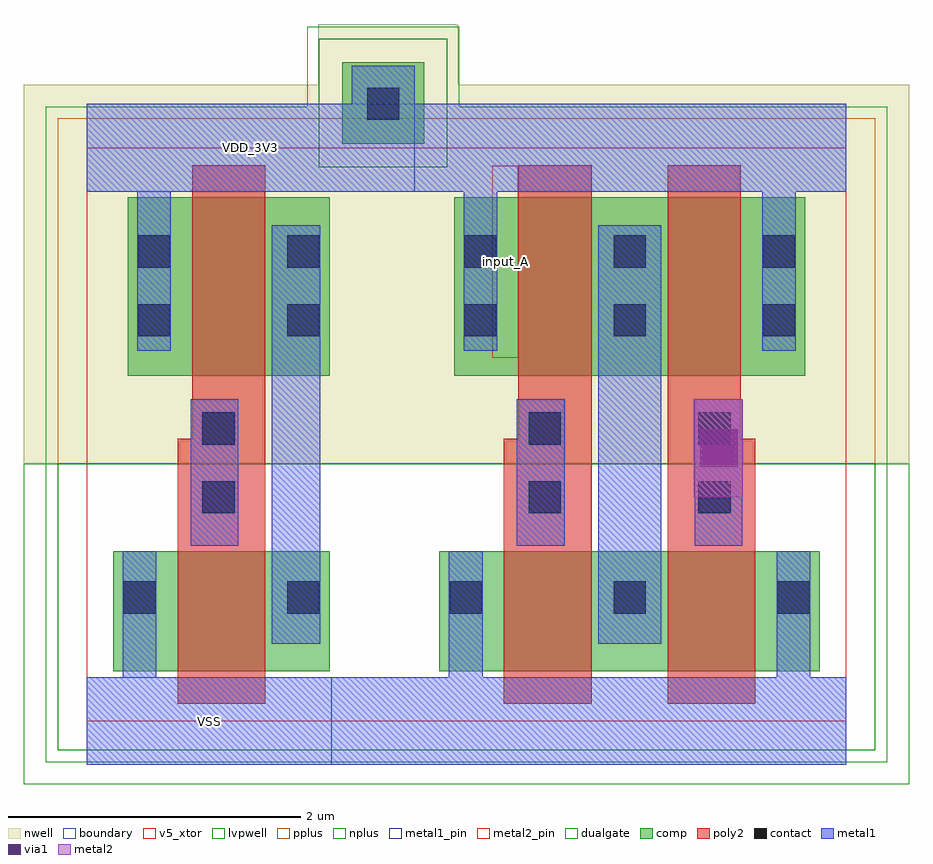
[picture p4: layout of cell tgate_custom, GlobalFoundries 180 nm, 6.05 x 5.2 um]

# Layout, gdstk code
from math import pi, radians
import gdstk
lib = gdstk.Library(unit=1e-6, precision=1e-09)
def R(c, l, rs):  # rectangles x0, y0, x1, y1
    for r in rs: c.add(gdstk.rectangle(r[:2], r[2:], *l))
def P(c, l, *ps):  # polygons
    for p in ps: c.add(gdstk.Polygon(p, *l))
boundary = (0, 0)
nwell = (21, 0)
comp = (22, 0)
poly2 = (30, 0)
pplus = (31, 0)
nplus = (32, 0)
contact = (33, 0)
metal1 = (34, 0)
metal1_pin = (34, 10)
via1 = (35, 0)
metal2 = (36, 0)
metal2_pin = (36, 10)
dualgate = (55, 0)
v5_xtor = (112, 1)
lvpwell = (204, 0)

not_internal_mod = lib.new_cell('not_internal_mod')
R(not_internal_mod, boundary, [(0,0,2.24,3.92)])
R(not_internal_mod, nwell, [(-0.43,1.76,2.67,4.35)])
R(not_internal_mod, comp, [(0.18,0.34,1.66,1.16), (0.28,2.36,1.66,3.58)])
P(not_internal_mod, poly2, [(0.62,0.12),(0.62,1.93),(0.72,1.93),(0.72,3.8),(1.22,3.8),(1.22,0.12)])
R(not_internal_mod, pplus, [(-0.2,1.76,2.44,4.12)])
R(not_internal_mod, nplus, [(-0.2,-0.2,2.44,1.76)])
R(not_internal_mod, contact, [(0.25,0.735,0.47,0.955), (1.37,0.735,1.59,0.955), (0.79,1.42,1.01,1.64), (0.79,1.89,1.01,2.11), (0.35,2.63,0.57,2.85), (1.37,2.63,1.59,2.85), (0.35,3.1,0.57,3.32), (1.37,3.1,1.59,3.32)])
R(not_internal_mod, metal1, [(1.265,0.53,1.595,3.39), (0.71,1.2,1.035,2.2)])
P(not_internal_mod, metal1, [(0,-0.3),(0,0.3),(0.245,0.3),(0.245,1.16),(0.475,1.16),(0.475,0.3),(2.24,0.3),(2.24,-0.3)],
  [(0.345,2.53),(0.345,3.62),(0,3.62),(0,4.22),(2.24,4.22),(2.24,3.62),(0.575,3.62),(0.575,2.53)])
R(not_internal_mod, dualgate, [(-0.28,-0.28,2.52,4.2)])
R(not_internal_mod, v5_xtor, [(0,0,2.24,3.92)])
R(not_internal_mod, lvpwell, [(-0.43,-0.43,2.67,1.76)])
not_internal_mod.add(gdstk.Label('VSS', (1.12,-0.08), layer=34, texttype=10))
not_internal_mod.add(gdstk.Label('ZN', (1.4,1.96), layer=34, texttype=10))
not_internal_mod.add(gdstk.Label('I', (0.84,1.96), layer=34, texttype=10))
not_internal_mod.add(gdstk.Label('VDD', (1.12,3.92), layer=34, texttype=10))
not_internal_mod.add(gdstk.Label('& Vendor GLOBALFOUNDRIES', (0,2), layer=63, texttype=63))
not_internal_mod.add(gdstk.Label('& Product GF018hv5v_mcu_sc7', (0,1.5), layer=63, texttype=63))
not_internal_mod.add(gdstk.Label('& Version 2015q2v1', (0,1), layer=63, texttype=63))
not_internal_mod.add(gdstk.Label('& Metric 1.00', (0,0.5), layer=63, texttype=63))
not_internal_mod.add(gdstk.Label('VNW', (0.345,3.92), layer=21, texttype=10))
not_internal_mod.add(gdstk.Label('VPW', (0.34,-0.085), layer=204, texttype=10))

half_gate_0 = lib.new_cell('half_gate_0')
R(half_gate_0, boundary, [(0,0,2.24,3.92)])
R(half_gate_0, nwell, [(-0.43,1.76,2.67,4.35)])
R(half_gate_0, comp, [(0.18,0.34,1.66,1.16), (0.28,2.36,1.66,3.58)])
P(half_gate_0, poly2, [(0.62,0.12),(0.62,1.93),(0.72,1.93),(0.72,3.8),(1.22,3.8),(1.22,0.12)])
R(half_gate_0, pplus, [(-0.2,1.76,2.44,4.12)])
R(half_gate_0, nplus, [(-0.2,-0.2,2.44,1.76)])
R(half_gate_0, contact, [(0.25,0.735,0.47,0.955), (1.37,0.735,1.59,0.955), (0.79,1.42,1.01,1.64), (0.79,1.89,1.01,2.11), (0.35,2.63,0.57,2.85), (1.37,2.63,1.59,2.85), (0.35,3.1,0.57,3.32), (1.37,3.1,1.59,3.32)])
R(half_gate_0, metal1, [(1.265,0.53,1.595,3.39), (0.71,1.2,1.035,2.2)])
P(half_gate_0, metal1, [(0,-0.3),(0,0.3),(0.245,0.3),(0.245,1.16),(0.475,1.16),(0.475,0.3),(2.24,0.3),(2.24,-0.3)],
  [(0.345,2.53),(0.345,3.62),(0,3.62),(0,4.22),(2.24,4.22),(2.24,3.62),(0.575,3.62),(0.575,2.53)])
R(half_gate_0, dualgate, [(-0.28,-0.28,2.52,4.2)])
R(half_gate_0, v5_xtor, [(0,0,2.24,3.92)])
R(half_gate_0, lvpwell, [(-0.43,-0.43,2.67,1.76)])
half_gate_0.add(gdstk.Label('VSS', (1.12,-0.08), layer=34, texttype=10))
half_gate_0.add(gdstk.Label('ZN', (1.4,1.96), layer=34, texttype=10))
half_gate_0.add(gdstk.Label('I', (0.84,1.96), layer=34, texttype=10))
half_gate_0.add(gdstk.Label('VDD', (1.12,3.92), layer=34, texttype=10))
half_gate_0.add(gdstk.Label('& Vendor GLOBALFOUNDRIES', (0,2), layer=63, texttype=63))
half_gate_0.add(gdstk.Label('& Product GF018hv5v_mcu_sc7', (0,1.5), layer=63, texttype=63))
half_gate_0.add(gdstk.Label('& Version 2015q2v1', (0,1), layer=63, texttype=63))
half_gate_0.add(gdstk.Label('& Metric 1.00', (0,0.5), layer=63, texttype=63))
half_gate_0.add(gdstk.Label('VNW', (0.345,3.92), layer=21, texttype=10))
half_gate_0.add(gdstk.Label('VPW', (0.34,-0.085), layer=204, texttype=10))

tgate_custom = lib.new_cell('tgate_custom')
R(tgate_custom, nwell, [(-0.775,3.385,-0.215,3.62), (-0.84,3.62,-0.13,3.665), (-0.92,3.665,0.02,3.67), (-0.94,3.67,0.02,4.2), (-0.94,4.2,0,4.205)])
R(tgate_custom, comp, [(-0.775,3.385,-0.215,3.945)])
R(tgate_custom, pplus, [(1.16,1.57,1.22,1.64), (1.16,3.18,1.22,3.25)])
R(tgate_custom, nplus, [(1.16,-0.45,1.22,-0.38), (1.16,0.76,1.22,0.83), (-0.935,3.225,-0.055,4.105)])
R(tgate_custom, contact, [(-0.605,3.55,-0.385,3.77)])
R(tgate_custom, metal1, [(-2.52,-0.86,-0.845,-0.26), (-1.245,0.835,-0.925,1.445), (0.42,1.035,0.455,1.445), (0.72,1.035,0.735,1.445), (0.975,1.035,1.4,2.83), (1.67,1.035,1.935,1.575), (-2.52,3.06,-0.28,3.66), (-0.71,3.66,-0.28,3.92)])
R(tgate_custom, metal1_pin, [(-2.52,-0.86,-0.845,-0.26), (-2.52,3.06,-0.28,3.66)])
R(tgate_custom, via1, [(1.67,1.175,1.93,1.435)])
R(tgate_custom, metal2, [(1.63,0.97,1.965,1.64)])
R(tgate_custom, metal2_pin, [(0.25,1.925,0.43,3.235)])
R(tgate_custom, dualgate, [(-0.62,-0.46,-0.35,0.84), (-0.62,1.56,-0.25,3.145), (-1.015,3.145,0.025,3.26), (-1.015,3.26,0.03,3.42), (-1.015,3.42,0.025,4.185)])
tgate_custom.add(gdstk.Reference(not_internal_mod, (-2.52,-0.56)))
tgate_custom.add(gdstk.Reference(half_gate_0, (2.67,-0.56), rotation=pi, x_reflection=True))
tgate_custom.add(gdstk.Reference(half_gate_0, (-0.29,-0.56)))
tgate_custom.add(gdstk.Label('input_A', (0.34,2.58), layer=36, texttype=10))
tgate_custom.add(gdstk.Label('VSS', (-1.682,-0.56), layer=34, texttype=10))
tgate_custom.add(gdstk.Label('VDD_3V3', (-1.4,3.36), layer=34, texttype=10))

lib.write_gds('tgate_custom.gds')
